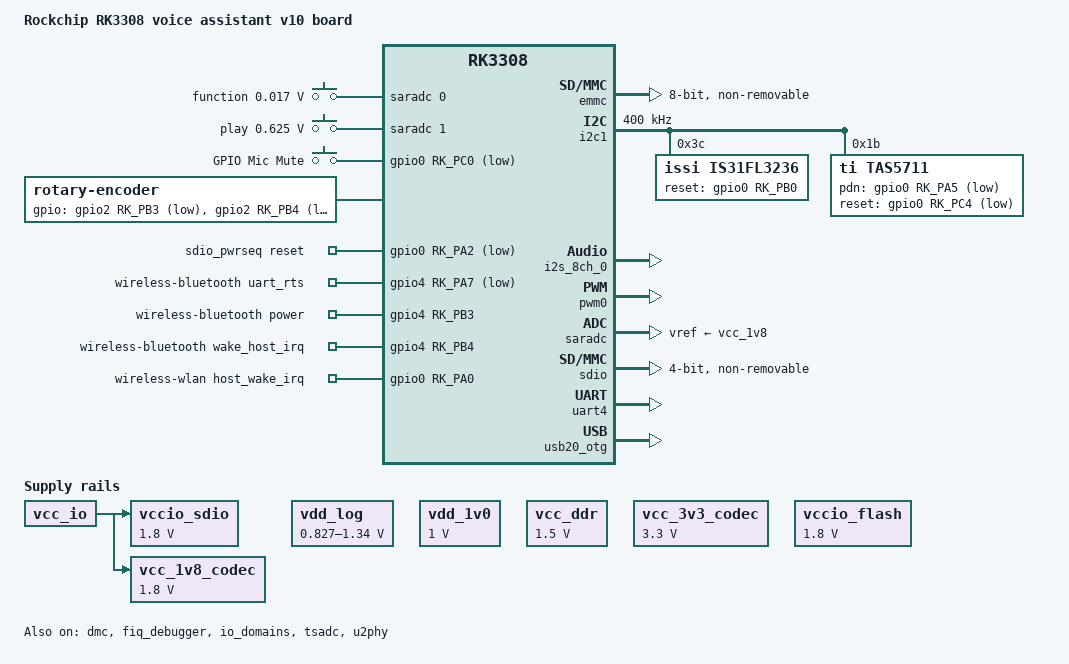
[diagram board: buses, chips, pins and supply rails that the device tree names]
// SPDX-License-Identifier: (GPL-2.0+ OR MIT)
/*
 * Copyright (c) 2018 Fuzhou Rockchip Electronics Co., Ltd
 */

/dts-v1/;

#include <dt-bindings/input/input.h>
#include "rk3308.dtsi"

/ {
	model = "Rockchip RK3308 voice assistant v10 board";
	compatible = "rockchip,rk3308-ai-va-v10", "rockchip,rk3308";

	chosen {
		bootargs = "earlycon=uart8250,mmio32,0xff0c0000 console=ttyFIQ0 root=PARTUUID=614e0000-0000 rootfstype=squashfs rootwait snd_aloop.index=7 snd_aloop.use_raw_jiffies=1";
	};

	adc-keys0 {
		compatible = "adc-keys";
		io-channels = <&saradc 0>;
		io-channel-names = "buttons";
		poll-interval = <100>;
		keyup-threshold-microvolt = <1800000>;

		func-key {
			linux,code = <KEY_FN>;
			label = "function";
			press-threshold-microvolt = <17000>;
		};
	};

	adc-keys1 {
		compatible = "adc-keys";
		io-channels = <&saradc 1>;
		io-channel-names = "buttons";
		poll-interval = <100>;
		keyup-threshold-microvolt = <1800000>;

		play-key {
			linux,code = <KEY_PLAY>;
			label = "play";
			press-threshold-microvolt = <625000>;
		};
	};

	gpio-keys {
		compatible = "gpio-keys";

		pinctrl-names = "default";
		pinctrl-0 = <&mic_mute>;

		mute {
			gpios = <&gpio0 RK_PC0 GPIO_ACTIVE_LOW>;
			linux,code = <KEY_MICMUTE>;
			label = "GPIO Mic Mute";
			debounce-interval = <100>;
		};
	};

	rotary {
		compatible = "rotary-encoder";
		pinctrl-names = "default";
		pinctrl-0 = <&rotary_gpio>;
		gpios = <&gpio2 RK_PB3 GPIO_ACTIVE_LOW>,
			<&gpio2 RK_PB4 GPIO_ACTIVE_LOW>;
		linux,axis = <0>; /* REL_X */
		rotary-encoder,relative-axis;
	};

	sdio_pwrseq: sdio-pwrseq {
		compatible = "mmc-pwrseq-simple";
		pinctrl-names = "default";
		pinctrl-0 = <&wifi_enable_h>;

		/*
		 * On the module itself this is one of these (depending
		 * on the actual card populated):
		 * - SDIO_RESET_L_WL_REG_ON
		 * - PDN (power down when low)
		 */
		reset-gpios = <&gpio0 RK_PA2 GPIO_ACTIVE_LOW>;
	};

	sound {
		compatible = "simple-audio-card";
		simple-audio-card,format = "i2s";
		simple-audio-card,mclk-fs = <256>;
		simple-audio-card,name = "i2s_8ch_0";

		simple-audio-card,dai-link@0 {
			format = "i2s";
			cpu {
				sound-dai = <&i2s_8ch_0>;
			};

			codec {
				sound-dai = <&dummy_codec>;
			};
		};

		simple-audio-card,dai-link@1 {
			format = "i2s";
			cpu {
				sound-dai = <&i2s_8ch_0>;
			};

			codec {
				sound-dai = <&tas5711>;
			};
		};
	};

	dummy_codec: dummy-codec {
		compatible = "rockchip,dummy-codec";
		#sound-dai-cells = <0>;
	};

	vdd_log: vdd_core: vdd-core {
		compatible = "pwm-regulator";
		pwms = <&pwm0 0 5000 1>;
		regulator-name = "vdd_core";
		regulator-min-microvolt = <827000>;
		regulator-max-microvolt = <1340000>;
		regulator-init-microvolt = <1015000>;
		regulator-always-on;
		regulator-boot-on;
		regulator-settling-time-up-us = <250>;
		status = "okay";
	};

	vdd_1v0: vdd-1v0 {
		compatible = "regulator-fixed";
		regulator-name = "vdd_1v0";
		regulator-always-on;
		regulator-boot-on;
		regulator-min-microvolt = <1000000>;
		regulator-max-microvolt = <1000000>;
	};

	vccio_sdio: vcc_1v8: vcc-1v8 {
		compatible = "regulator-fixed";
		regulator-name = "vcc_1v8";
		regulator-always-on;
		regulator-boot-on;
		regulator-min-microvolt = <1800000>;
		regulator-max-microvolt = <1800000>;
		vin-supply = <&vcc_io>;
	};

	vcc_1v8_codec: vcc-1v8-codec {
		compatible = "regulator-fixed";
		regulator-name = "vcc_1v8_codec";
		regulator-always-on;
		regulator-boot-on;
		regulator-min-microvolt = <1800000>;
		regulator-max-microvolt = <1800000>;
		vin-supply = <&vcc_io>;
	};

	vcc_ddr: vcc-ddr {
		compatible = "regulator-fixed";
		regulator-name = "vcc_ddr";
		regulator-always-on;
		regulator-boot-on;
		regulator-min-microvolt = <1500000>;
		regulator-max-microvolt = <1500000>;
	};

	vcc_3v3_codec: vcc_io: vcc-io {
		compatible = "regulator-fixed";
		regulator-name = "vcc_io";
		regulator-always-on;
		regulator-boot-on;
		regulator-min-microvolt = <3300000>;
		regulator-max-microvolt = <3300000>;
	};

	vccio_flash: vccio-flash {
		compatible = "regulator-fixed";
		regulator-name = "vccio_flash";
		regulator-always-on;
		regulator-boot-on;
		regulator-min-microvolt = <1800000>;
		regulator-max-microvolt = <1800000>;
	};

	wireless-bluetooth {
		compatible = "bluetooth-platdata";
		uart_rts_gpios = <&gpio4 RK_PA7 GPIO_ACTIVE_LOW>;
		pinctrl-names = "default", "rts_gpio";
		pinctrl-0 = <&uart4_rts>;
		pinctrl-1 = <&uart4_rts_pin>;
		BT,power_gpio    = <&gpio4 RK_PB3 GPIO_ACTIVE_HIGH>;
		BT,wake_host_irq = <&gpio4 RK_PB4 GPIO_ACTIVE_HIGH>;
		status = "okay";
	};

	wireless-wlan {
		compatible = "wlan-platdata";
		rockchip,grf = <&grf>;
		pinctrl-names = "default";
		pinctrl-0 = <&wifi_wake_host>, <&rtc_32k>;
		wifi_chip_type = "ap6255";
		WIFI,host_wake_irq = <&gpio0 RK_PA0 GPIO_ACTIVE_HIGH>;
		status = "okay";
	};
};

&cpu0 {
	cpu-supply = <&vdd_core>;
};

&dmc {
	center-supply = <&vdd_core>;
	status = "okay";
};

&emmc {
	bus-width = <8>;
	cap-mmc-highspeed;
	mmc-hs200-1_8v;
	no-sdio;
	no-sd;
	disable-wp;
	non-removable;
	num-slots = <1>;
	status = "okay";
};

&fiq_debugger {
	status = "okay";
};

&io_domains {
	status = "okay";

	vccio0-supply = <&vcc_io>;
	vccio1-supply = <&vcc_io>;
	vccio2-supply = <&vcc_1v8>;
	vccio3-supply = <&vccio_flash>;
	vccio4-supply = <&vccio_sdio>;
	vccio5-supply = <&vcc_io>;
};

&i2c1 {
	clock-frequency = <400000>;
	status = "okay";

	is31fl3236: led-controller@3c {
		compatible = "issi,is31fl3236";
		reg = <0x3c>;
		#address-cells = <1>;
		#size-cells = <0>;
		reset-gpios = <&gpio0 RK_PB0 GPIO_ACTIVE_HIGH>;
		status = "okay";

		led1: led@1 {
			label = "led1";
			reg = <1>;
			led-max-microamp = <10000>;
			linux,default-trigger = "timer";
			linux,default-trigger-delay-ms = <0>;
			linux,blink-delay-on-ms = <100>;
			linux,blink-delay-off-ms = <1200>;
		};

		led2: led@2 {
			label = "led2";
			reg = <2>;
			led-max-microamp = <10000>;
			linux,default-trigger = "timer";
			linux,default-trigger-delay-ms = <0>;
			linux,blink-delay-on-ms = <100>;
			linux,blink-delay-off-ms = <1200>;
		};

		led3: led@3 {
			label = "led3";
			reg = <3>;
			led-max-microamp = <10000>;
			linux,default-trigger = "default-on";
		};

		led4: led@4 {
			label = "led4";
			reg = <4>;
			led-max-microamp = <10000>;
			linux,default-trigger = "timer";
			linux,default-trigger-delay-ms = <100>;
			linux,blink-delay-on-ms = <100>;
			linux,blink-delay-off-ms = <1200>;
		};

		led5: led@5 {
			label = "led5";
			reg = <5>;
			led-max-microamp = <10000>;
			linux,default-trigger = "timer";
			linux,default-trigger-delay-ms = <100>;
			linux,blink-delay-on-ms = <100>;
			linux,blink-delay-off-ms = <1200>;
		};

		led6: led@6 {
			label = "led6";
			reg = <6>;
			led-max-microamp = <10000>;
			linux,default-trigger = "default-on";
		};

		led7: led@7 {
			label = "led7";
			reg = <7>;
			led-max-microamp = <10000>;
			linux,default-trigger = "timer";
			linux,default-trigger-delay-ms = <200>;
			linux,blink-delay-on-ms = <100>;
			linux,blink-delay-off-ms = <1200>;
		};

		led8: led@8 {
			label = "led8";
			reg = <8>;
			led-max-microamp = <10000>;
			linux,default-trigger = "timer";
			linux,default-trigger-delay-ms = <200>;
			linux,blink-delay-on-ms = <100>;
			linux,blink-delay-off-ms = <1200>;
		};

		led9: led@9 {
			label = "led9";
			reg = <9>;
			led-max-microamp = <10000>;
			linux,default-trigger = "default-on";
		};

		led10: led@10 {
			label = "led10";
			reg = <10>;
			led-max-microamp = <10000>;
			linux,default-trigger = "timer";
			linux,default-trigger-delay-ms = <300>;
			linux,blink-delay-on-ms = <100>;
			linux,blink-delay-off-ms = <1200>;
		};

		led11: led@11 {
			label = "led11";
			reg = <11>;
			led-max-microamp = <10000>;
			linux,default-trigger = "timer";
			linux,default-trigger-delay-ms = <300>;
			linux,blink-delay-on-ms = <100>;
			linux,blink-delay-off-ms = <1200>;
		};

		led12: led@12 {
			label = "led12";
			reg = <12>;
			led-max-microamp = <10000>;
			linux,default-trigger = "default-on";
		};

		led13: led@13 {
			label = "led13";
			reg = <13>;
			led-max-microamp = <10000>;
			linux,default-trigger = "timer";
			linux,default-trigger-delay-ms = <400>;
			linux,blink-delay-on-ms = <100>;
			linux,blink-delay-off-ms = <1200>;
		};

		led14: led@14 {
			label = "led14";
			reg = <14>;
			led-max-microamp = <10000>;
			linux,default-trigger = "timer";
			linux,default-trigger-delay-ms = <400>;
			linux,blink-delay-on-ms = <100>;
			linux,blink-delay-off-ms = <1200>;
		};

		led15: led@15 {
			label = "led15";
			reg = <15>;
			led-max-microamp = <10000>;
			linux,default-trigger = "default-on";
		};

		led16: led@16 {
			label = "led16";
			reg = <16>;
			led-max-microamp = <10000>;
			linux,default-trigger = "timer";
			linux,default-trigger-delay-ms = <500>;
			linux,blink-delay-on-ms = <100>;
			linux,blink-delay-off-ms = <1200>;
		};

		led17: led@17 {
			label = "led17";
			reg = <17>;
			led-max-microamp = <10000>;
			linux,default-trigger = "timer";
			linux,default-trigger-delay-ms = <500>;
			linux,blink-delay-on-ms = <100>;
			linux,blink-delay-off-ms = <1200>;
		};

		led18: led@18 {
			label = "led18";
			reg = <18>;
			led-max-microamp = <10000>;
			linux,default-trigger = "default-on";
		};

		led19: led@19 {
			label = "led19";
			reg = <19>;
			led-max-microamp = <10000>;
			linux,default-trigger = "timer";
			linux,default-trigger-delay-ms = <600>;
			linux,blink-delay-on-ms = <100>;
			linux,blink-delay-off-ms = <1200>;
		};

		led20: led@20 {
			label = "led20";
			reg = <20>;
			led-max-microamp = <10000>;
			linux,default-trigger = "timer";
			linux,default-trigger-delay-ms = <600>;
			linux,blink-delay-on-ms = <100>;
			linux,blink-delay-off-ms = <1200>;
		};

		led21: led@21 {
			label = "led21";
			reg = <21>;
			led-max-microamp = <10000>;
			linux,default-trigger = "default-on";
		};

		led22: led@22 {
			label = "led22";
			reg = <22>;
			led-max-microamp = <10000>;
			linux,default-trigger = "timer";
			linux,default-trigger-delay-ms = <700>;
			linux,blink-delay-on-ms = <100>;
			linux,blink-delay-off-ms = <1200>;
		};

		led23: led@23 {
			label = "led23";
			reg = <23>;
			led-max-microamp = <10000>;
			linux,default-trigger = "timer";
			linux,default-trigger-delay-ms = <700>;
			linux,blink-delay-on-ms = <100>;
			linux,blink-delay-off-ms = <1200>;
		};

		led124: led@24 {
			label = "led24";
			reg = <24>;
			led-max-microamp = <10000>;
			linux,default-trigger = "default-on";
		};

		led25: led@25 {
			label = "led25";
			reg = <25>;
			led-max-microamp = <10000>;
			linux,default-trigger = "timer";
			linux,default-trigger-delay-ms = <800>;
			linux,blink-delay-on-ms = <100>;
			linux,blink-delay-off-ms = <1200>;
		};

		led26: led@26 {
			label = "led26";
			reg = <26>;
			led-max-microamp = <10000>;
			linux,default-trigger = "timer";
			linux,default-trigger-delay-ms = <800>;
			linux,blink-delay-on-ms = <100>;
			linux,blink-delay-off-ms = <1200>;
		};

		led27: led@27 {
			label = "led27";
			reg = <27>;
			led-max-microamp = <10000>;
			linux,default-trigger = "default-on";
		};

		led28: led@28 {
			label = "led28";
			reg = <28>;
			led-max-microamp = <10000>;
			linux,default-trigger = "timer";
			linux,default-trigger-delay-ms = <900>;
			linux,blink-delay-on-ms = <100>;
			linux,blink-delay-off-ms = <1200>;
		};

		led29: led@29 {
			label = "led29";
			reg = <29>;
			led-max-microamp = <10000>;
			linux,default-trigger = "timer";
			linux,default-trigger-delay-ms = <900>;
			linux,blink-delay-on-ms = <100>;
			linux,blink-delay-off-ms = <1200>;
		};

		led30: led@30 {
			label = "led30";
			reg = <30>;
			led-max-microamp = <10000>;
			linux,default-trigger = "default-on";
		};

		led31: led@31 {
			label = "led31";
			reg = <31>;
			led-max-microamp = <10000>;
			linux,default-trigger = "timer";
			linux,default-trigger-delay-ms = <1000>;
			linux,blink-delay-on-ms = <100>;
			linux,blink-delay-off-ms = <1200>;
		};

		led32: led@32 {
			label = "led32";
			reg = <32>;
			led-max-microamp = <10000>;
			linux,default-trigger = "timer";
			linux,default-trigger-delay-ms = <1000>;
			linux,blink-delay-on-ms = <100>;
			linux,blink-delay-off-ms = <1200>;
		};

		led33: led@33 {
			label = "led33";
			reg = <33>;
			led-max-microamp = <10000>;
			linux,default-trigger = "default-on";
		};

		led34: led@34 {
			label = "led34";
			reg = <34>;
			led-max-microamp = <10000>;
			linux,default-trigger = "timer";
			linux,default-trigger-delay-ms = <1100>;
			linux,blink-delay-on-ms = <100>;
			linux,blink-delay-off-ms = <1200>;
		};

		led35: led@35 {
			label = "led35";
			reg = <35>;
			led-max-microamp = <10000>;
			linux,default-trigger = "timer";
			linux,default-trigger-delay-ms = <1100>;
			linux,blink-delay-on-ms = <100>;
			linux,blink-delay-off-ms = <1200>;
		};

		led36: led@36 {
			label = "led36";
			reg = <36>;
			led-max-microamp = <10000>;
			linux,default-trigger = "default-on";
		};
	};

	tas5711: tas5711@1b {
		#sound-dai-cells = <0>;
		compatible = "ti,tas5711";
		reg = <0x1b>;
		clocks = <&cru SCLK_I2S0_8CH_TX_OUT>;
		clock-names = "mclk";
		pinctrl-names = "default";
		pinctrl-0 = <&i2s_8ch_0_mclk>;
		pdn-gpios = <&gpio0 RK_PA5 GPIO_ACTIVE_LOW>;
		reset-gpios = <&gpio0 RK_PC4 GPIO_ACTIVE_LOW>;
	};
};

&i2s_8ch_0 {
	status = "okay";
	assigned-clocks = <&cru SCLK_I2S0_8CH_RX>;
	assigned-clock-parents = <&cru SCLK_I2S0_8CH_TX_MUX>;
	rockchip,clk-trcm = <1>;
	#sound-dai-cells = <0>;
};

&pinctrl {
	buttons {
		mic_mute: mic-mute {
			rockchip,pins = <0 RK_PC0 RK_FUNC_GPIO &pcfg_pull_up>;
		};
	};
	rotary {
		rotary_gpio: rotary-gpio {
			rockchip,pins =
				<2 RK_PB3 RK_FUNC_GPIO &pcfg_pull_none>,
				<2 RK_PB4 RK_FUNC_GPIO &pcfg_pull_none>;
		};
	};
	sdio-pwrseq {
		wifi_enable_h: wifi-enable-h {
			rockchip,pins = <0 RK_PA2 RK_FUNC_GPIO &pcfg_pull_none>;
		};
	};

	wireless-wlan {
		wifi_wake_host: wifi-wake-host {
			rockchip,pins = <0 RK_PA0 RK_FUNC_GPIO &pcfg_pull_up>;
		};
	};
};

&pwm0 {
	status = "okay";
	pinctrl-names = "active";
	pinctrl-0 = <&pwm0_pin_pull_down>;
};

&rockchip_suspend {
	rockchip,pwm-regulator-config = <
		(0
		| RKPM_PWM_REGULATOR
		)
	>;

	status = "okay";
};

&saradc {
	status = "okay";
	vref-supply = <&vcc_1v8>;
};

&sdio {
	bus-width = <4>;
	cap-sd-highspeed;
	no-sd;
	no-mmc;
	ignore-pm-notify;
	keep-power-in-suspend;
	non-removable;
	mmc-pwrseq = <&sdio_pwrseq>;
	sd-uhs-sdr104;
	status = "okay";
};

&tsadc {
	rockchip,hw-tshut-mode = <0>; /* tshut mode 0:CRU 1:GPIO */
	rockchip,hw-tshut-polarity = <1>; /* tshut polarity 0:LOW 1:HIGH */
	status = "okay";
};

&uart4 {
	pinctrl-names = "default";
	pinctrl-0 = <&uart4_xfer &uart4_cts>;
	status = "okay";
};

&u2phy {
	status = "okay";

	u2phy_otg: otg-port {
		status = "okay";
	};
};

&usb20_otg {
	status = "okay";
};
